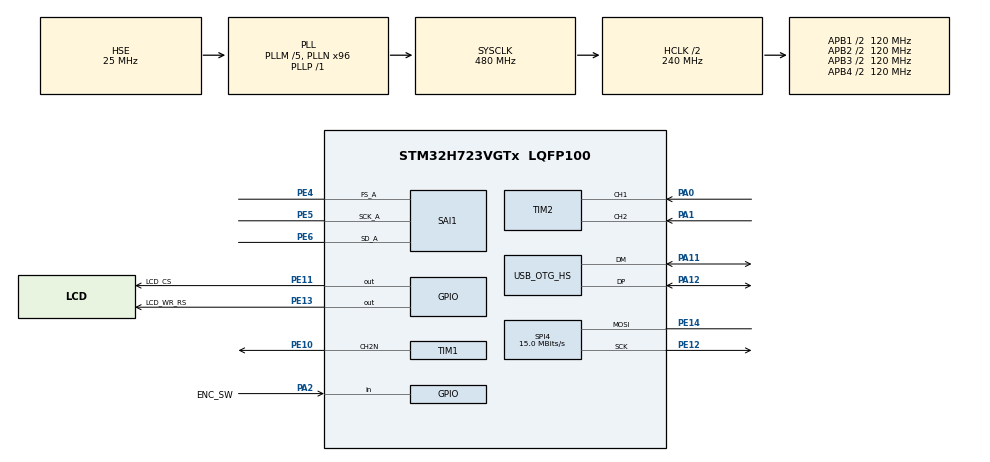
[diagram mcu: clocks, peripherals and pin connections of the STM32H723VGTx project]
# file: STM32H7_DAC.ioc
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CORTEX_M7.AccessPermission_S-Cortex_Memory_Protection_Unit_Region1_Settings_S=MPU_REGION_FULL_ACCESS
CORTEX_M7.BaseAddress_S-Cortex_Memory_Protection_Unit_Region1_Settings_S=0x30000000
CORTEX_M7.DisableExec_S-Cortex_Memory_Protection_Unit_Region1_Settings_S=MPU_INSTRUCTION_ACCESS_DISABLE
CORTEX_M7.Enable_S-Cortex_Memory_Protection_Unit_Region1_Settings_S=MPU_REGION_ENABLE
CORTEX_M7.IsShareable_S-Cortex_Memory_Protection_Unit_Region1_Settings_S=MPU_ACCESS_SHAREABLE
CORTEX_M7.Size_S-Cortex_Memory_Protection_Unit_Region1_Settings_S=MPU_REGION_SIZE_32KB
CORTEX_M7.TypeExtField_S-Cortex_Memory_Protection_Unit_Region1_Settings_S=MPU_TEX_LEVEL1
CORTEX_M7.default_mode_Activation=1
Dma.Request0=SAI1_A
Dma.SAI1_A.0.Direction=DMA_MEMORY_TO_PERIPH
Dma.SAI1_A.0.EventEnable=DISABLE
Dma.SAI1_A.0.FIFOMode=DMA_FIFOMODE_DISABLE
Dma.SAI1_A.0.Instance=DMA1_Stream0
Dma.SAI1_A.0.MemDataAlignment=DMA_MDATAALIGN_WORD
Dma.SAI1_A.0.MemInc=DMA_MINC_ENABLE
Dma.SAI1_A.0.Mode=DMA_CIRCULAR
Dma.SAI1_A.0.PeriphDataAlignment=DMA_PDATAALIGN_WORD
Dma.SAI1_A.0.PeriphInc=DMA_PINC_DISABLE
Dma.SAI1_A.0.Polarity=HAL_DMAMUX_REQ_GEN_RISING
Dma.SAI1_A.0.Priority=DMA_PRIORITY_LOW
Dma.SAI1_A.0.RequestNumber=1
Dma.SAI1_A.0.SignalID=NONE
Dma.SAI1_A.0.SyncEnable=DISABLE
Dma.SAI1_A.0.SyncPolarity=HAL_DMAMUX_SYNC_NO_EVENT
Dma.SAI1_A.0.SyncRequestNumber=1
Dma.SAI1_A.0.SyncSignalID=NONE
Mcu.Family=STM32H7
Mcu.Name=STM32H723VGTx
Mcu.Package=LQFP100
NVIC.DMA1_Stream0_IRQn=true\:0\:0\:false\:false\:true\:false\:true\:true
NVIC.OTG_HS_IRQn=true\:2\:0\:true\:false\:true\:false\:true\:true
NVIC.PriorityGroup=NVIC_PRIORITYGROUP_4
PA0.Signal=S_TIM2_CH1_ETR
PA1.Signal=S_TIM2_CH2
PA11.Mode=Device_Only_FS
PA11.Signal=USB_OTG_HS_DM
PA12.Mode=Device_Only_FS
PA12.Signal=USB_OTG_HS_DP
PA13(JTMS/SWDIO).Mode=Serial_Wire
PA13(JTMS/SWDIO).Signal=DEBUG_JTMS-SWDIO
PA14(JTCK/SWCLK).Mode=Serial_Wire
PA14(JTCK/SWCLK).Signal=DEBUG_JTCK-SWCLK
PA2.GPIO_Label=ENC_SW
PA2.Signal=GPIO_Input
PC14-OSC32_IN.Mode=LSE-External-Oscillator
PC14-OSC32_IN.Signal=RCC_OSC32_IN
PC15-OSC32_OUT.Mode=LSE-External-Oscillator
PC15-OSC32_OUT.Signal=RCC_OSC32_OUT
PE10.Mode=PWM Generation2 CH2N
PE10.Signal=TIM1_CH2N
PE11.GPIO_Label=LCD_CS
PE11.Signal=GPIO_Output
PE12.Mode=Simplex_Bidirectional_Master
PE12.Signal=SPI4_SCK
PE13.GPIO_Label=LCD_WR_RS
PE13.Signal=GPIO_Output
PE14.Mode=Simplex_Bidirectional_Master
PE14.Signal=SPI4_MOSI
PE4.Mode=SAI_A_Master
PE4.Signal=SAI1_FS_A
PE5.Mode=SAI_A_Master
PE5.Signal=SAI1_SCK_A
PE6.Mode=SAI_A_Master
PE6.Signal=SAI1_SD_A
PH0-OSC_IN.Mode=HSE-External-Oscillator
PH0-OSC_IN.Signal=RCC_OSC_IN
PH1-OSC_OUT.Mode=HSE-External-Oscillator
PH1-OSC_OUT.Signal=RCC_OSC_OUT
ProjectManager.HeapSize=0x200
ProjectManager.StackSize=0x400
ProjectManager.TargetToolchain=Makefile
RCC.ADCFreq_Value=12288001.443253083
RCC.APB1Freq_Value=120000000
RCC.APB2Freq_Value=120000000
RCC.APB3Freq_Value=120000000
RCC.APB4Freq_Value=120000000
RCC.CortexFreq_Value=480000000
RCC.D1PPRE=RCC_APB3_DIV2
RCC.D2PPRE1=RCC_APB1_DIV2
RCC.D2PPRE2=RCC_APB2_DIV2
RCC.D3PPRE=RCC_APB4_DIV2
RCC.DIVM1=5
RCC.DIVM2=21
RCC.DIVM3=5
RCC.DIVN1=96
RCC.DIVN2=289
RCC.DIVN3=40
RCC.DIVP1=1
RCC.DIVP2=28
RCC.DIVP3=1
RCC.DIVQ1=10
RCC.HCLKFreq_Value=240000000
RCC.HPRE=RCC_HCLK_DIV2
RCC.PLL2FRACN=113
RCC.PLL3FRACN=0
RCC.PLLFRACN=0
RCC.PLLSourceVirtual=RCC_PLLSOURCE_HSE
RCC.SAI1CLockSelection=RCC_SAI1CLKSOURCE_PLL2
RCC.SYSCLKFreq_VALUE=480000000
RCC.SYSCLKSource=RCC_SYSCLKSOURCE_PLLCLK
RCC.USBFreq_Value=48000000
SAI1.AudioFrequency-SAI_A_Master=SAI_AUDIO_FREQUENCY_48K
SAI1.BasicDataSize-SAI_A_Master=SAI_PROTOCOL_DATASIZE_32BIT
SAI1.ErrorAudioFreq-SAI_A_Master=0.0 %
SAI1.InitProtocol-SAI_A_Master=Enable
SAI1.Instance-SAI_A_Master=SAI$Index_Block_A
SAI1.MckOutput=SAI_MCK_OUTPUT_DISABLE
SAI1.RealAudioFreq-SAI_A_Master=48.0 KHz
SAI1.VirtualMode-SAI_A_Master=VM_MASTER
SAI1.VirtualProtocol-SAI_A_BASIC=VM_BASIC_PROTOCOL
SH.S_TIM2_CH1_ETR.0=TIM2_CH1,Encoder_Interface
SH.S_TIM2_CH2.0=TIM2_CH2,Encoder_Interface
SPI4.BaudRatePrescaler=SPI_BAUDRATEPRESCALER_8
SPI4.CalculateBaudRate=15.0 MBits/s
SPI4.DataSize=SPI_DATASIZE_8BIT
SPI4.Direction=SPI_DIRECTION_1LINE
SPI4.Mode=SPI_MODE_MASTER
SPI4.VirtualType=VM_MASTER
TIM1.Channel-PWM\ Generation2\ CH2N=TIM_CHANNEL_2
TIM1.OCNPolarity_2=TIM_OCNPOLARITY_LOW
TIM1.Period=1000-1
TIM1.Prescaler=27-1
TIM2.EncoderMode=TIM_ENCODERMODE_TI12
TIM2.IC1Filter=0xf
TIM2.IC2Filter=0xf
USB_DEVICE.CLASS_NAME_HS=AUDIO
USB_DEVICE.PRODUCT_STRING_AUDIO_HS=STM32H7 DAC
USB_DEVICE.USBD_AUDIO_FREQ=48000
USB_DEVICE.VirtualMode=Audio
USB_DEVICE.VirtualModeHS=Audio_HS
USB_OTG_HS.VirtualMode-Device_Only_FS=Device_Only_FS
VP_MEMORYMAP_VS_MEMORYMAP.Mode=CurAppReg
VP_RTC_VS_RTC_Activate.Mode=RTC_Enabled
VP_RTC_VS_RTC_Calendar.Mode=RTC_Calendar
VP_SAI1_VP_$IpInstance_SAIA_SAI_BASIC.Mode=SAI_A_BASIC
VP_USB_DEVICE_VS_USB_DEVICE_AUDIO_HS.Mode=AUDIO_HS
board=custom

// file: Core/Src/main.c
/* USER CODE BEGIN Header */
/**
  ******************************************************************************
  * @file           : main.c
  * @brief          : Main program body
  ******************************************************************************
  * @attention
  *
  * Copyright (c) 2026 STMicroelectronics.
  * All rights reserved.
  *
  * This software is licensed under terms that can be found in the LICENSE file
  * in the root directory of this software component.
  * If no LICENSE file comes with this software, it is provided AS-IS.
  *
  ******************************************************************************
  */
/* USER CODE END Header */
#include "main.h"
#include "usb_device.h"

/* USER CODE BEGIN Includes */
#include "board.h"
#include "bsp_encoder.h"
#include "lcd.h"
#include "usbd_audio.h"
#include "audio_dsp.h"
#include <stdio.h>
/* USER CODE END Includes */

RTC_HandleTypeDef hrtc;

SAI_HandleTypeDef hsai_BlockA1;
DMA_HandleTypeDef hdma_sai1_a;

SPI_HandleTypeDef hspi4;

TIM_HandleTypeDef htim1;
TIM_HandleTypeDef htim2;

void SystemClock_Config(void);
static void MPU_Config(void);
static void MX_GPIO_Init(void);
static void MX_DMA_Init(void);
static void MX_SAI1_Init(void);
static void MX_RTC_Init(void);
static void MX_SPI4_Init(void);
static void MX_TIM1_Init(void);
static void MX_TIM2_Init(void);

/* USER CODE BEGIN 0 */

/* Status header (top 20 px) + spectrum/EQ area (lower 60 px) geometry. */
#define HEADER_H     20U
#define HEADER_TEXT_Y 2U
#define RATE_TEXT_X   116U

#define SPECTRUM_Y    HEADER_H
#define SPECTRUM_H    60U
#define SPECTRUM_BARS 8U
#define BAR_PITCH     (160U / SPECTRUM_BARS)
#define BAR_WIDTH     (BAR_PITCH - 4U)

static void show_rate(uint32_t freq)
{
  const char *s;
  uint16_t bg;

  if (freq == 44100U)      { s = "44.1K"; bg = BLUE; }
  else if (freq == 48000U) { s = "48K";   bg = GREEN; }
  else if (freq == 96000U) { s = "96K";   bg = RED; }
  else                     { s = "  ?K";  bg = BLACK; }

  POINT_COLOR = WHITE;
  BACK_COLOR  = bg;
  LCD_FillRect(RATE_TEXT_X, HEADER_TEXT_Y, 160U - RATE_TEXT_X, 16U, bg);
  LCD_ShowString(RATE_TEXT_X, HEADER_TEXT_Y, 160U - RATE_TEXT_X, 16U, 16, (uint8_t *)s);
}

#define DISPLAY_TIMEOUT_MS 120000U
#define DISPLAY_BRIGHTNESS 80U

/* ------------------------------------------------------------------------- */
/* Rotary-encoder UI: spectrum view + 3-band EQ adjust view.                 */
/* ------------------------------------------------------------------------- */

typedef enum
{
  UI_SPECTRUM = 0,
  UI_EQ_LOW,
  UI_EQ_MID,
  UI_EQ_HIGH,
  UI_MODE_COUNT
} ui_mode_t;

static ui_mode_t ui_mode = UI_SPECTRUM;
static uint8_t   ui_needs_redraw = 0U;

/* EQ graph geometry: 3 markers over the lower 60 px area, center = 0 dB. */
#define EQ_MARKER_HALF 4
#define EQ_CENTER_Y    (SPECTRUM_Y + (SPECTRUM_H / 2U))
#define EQ_SCALE       1.6f
static const uint16_t eq_marker_x[AUDIO_DSP_EQ_BANDS] = { 30U, 80U, 130U };

static uint16_t eq_y_for_gain(int8_t db)
{
  int32_t y = (int32_t)EQ_CENTER_Y - (int32_t)((float)db * EQ_SCALE);
  return (uint16_t)y;
}

static void eq_draw_marker(uint8_t band)
{
  uint16_t x = eq_marker_x[band];
  uint16_t y = eq_y_for_gain(AudioDSP_GetEqGainDb(band));

  if (ui_mode == (ui_mode_t)((uint32_t)UI_EQ_LOW + band))
  {
    /* Selected band: solid highlighted square. */
    LCD_FillRect((uint16_t)(x - EQ_MARKER_HALF), (uint16_t)(y - EQ_MARKER_HALF),
                 (uint16_t)(EQ_MARKER_HALF * 2 + 1), (uint16_t)(EQ_MARKER_HALF * 2 + 1),
                 YELLOW);
  }
  else
  {
    /* Other bands: outlined square (the line passes through the center). */
    LCD_FillRect((uint16_t)(x - 3U), (uint16_t)(y - 3U), 7U, 7U, WHITE);
    LCD_FillRect((uint16_t)(x - 2U), (uint16_t)(y - 2U), 5U, 5U, BLACK);
  }
}

static void eq_draw_graph(void)
{
  uint8_t band;

  LCD_ClearArea(0, SPECTRUM_Y, 160U, SPECTRUM_H);

  /* 0 dB reference line. */
  LCD_FillRect(4U, EQ_CENTER_Y, 152U, 1U, GRAY);

  /* Connect the three markers. */
  for (band = 1U; band < AUDIO_DSP_EQ_BANDS; band++)
  {
    LCD_DrawLine(eq_marker_x[band - 1U],
                 eq_y_for_gain(AudioDSP_GetEqGainDb((uint8_t)(band - 1U))),
                 eq_marker_x[band],
                 eq_y_for_gain(AudioDSP_GetEqGainDb(band)),
                 GREEN);
  }

  for (band = 0U; band < AUDIO_DSP_EQ_BANDS; band++)
  {
    eq_draw_marker(band);
  }
}

static void spectrum_draw_baseline(void)
{
  uint32_t b;

  LCD_ClearArea(0, SPECTRUM_Y, 160U, SPECTRUM_H);
  for (b = 0; b < SPECTRUM_BARS; b++)
  {
    LCD_FillRect((uint16_t)(b * BAR_PITCH + 2U),
                 (uint16_t)(SPECTRUM_Y + SPECTRUM_H - 1U), BAR_WIDTH, 1U, GREEN);
  }
}

static void display_redraw(void)
{
  LCD_ClearArea(0, 0, 160U, HEADER_H);
  POINT_COLOR = WHITE;
  BACK_COLOR  = BLACK;
  LCD_ShowString(4, HEADER_TEXT_Y, RATE_TEXT_X - 4, 16U, 16, (uint8_t *)"STM32H7 DAC");
  show_rate(audio_freq_hz);

  if (ui_mode == UI_SPECTRUM)
  {
    spectrum_draw_baseline();
  }
  else
  {
    eq_draw_graph();
  }
}

/* USER CODE END 0 */

int main(void)
{

  /* MPU Configuration--------------------------------------------------------*/
  MPU_Config();

  /* MCU Configuration--------------------------------------------------------*/

  /* Reset of all peripherals, Initializes the Flash interface and the Systick. */
  HAL_Init();

  /* Configure the system clock */
  SystemClock_Config();

  /* Initialize all configured peripherals */
  MX_GPIO_Init();
  MX_DMA_Init();
  MX_SAI1_Init();
  MX_RTC_Init();
  MX_SPI4_Init();
  MX_TIM1_Init();
  MX_USB_DEVICE_Init();
  MX_TIM2_Init();
  /* USER CODE BEGIN 2 */
  board_led_init();
  BSP_ENC_Init();
  LCD_Init();
  display_redraw();

  uint32_t display_sound_last = audio_sound_frames;
  uint32_t display_sound_tick = HAL_GetTick();
  uint8_t  display_on = 1U;
  /* USER CODE END 2 */

  /* Infinite loop */
  while (1)
  {

    /* USER CODE BEGIN 3 */
    static uint32_t rate_last = 0U;

    uint32_t now = HAL_GetTick();
    uint32_t sound_frames = audio_sound_frames;
    uint8_t  activity = 0U;

    /* Poll the rotary encoder + button every loop, even when the backlight is
       off, so user input can also wake the display. */
    {
      int32_t steps = BSP_ENC_GetSteps();
      uint8_t pressed = BSP_ENC_ButtonEvent();

      if ((steps != 0) || (pressed != 0U))
      {
        activity = 1U;
      }

      if (pressed != 0U)
      {
        ui_mode = (ui_mode_t)(((uint32_t)ui_mode + 1U) % (uint32_t)UI_MODE_COUNT);
        ui_needs_redraw = 1U;
      }

      if ((steps != 0) && (ui_mode != UI_SPECTRUM))
      {
        uint8_t band = (uint8_t)((uint32_t)ui_mode - (uint32_t)UI_EQ_LOW);
        int32_t g = (int32_t)AudioDSP_GetEqGainDb(band) + steps;

        if (g < (int32_t)AUDIO_DSP_EQ_DB_MIN) { g = AUDIO_DSP_EQ_DB_MIN; }
        if (g > (int32_t)AUDIO_DSP_EQ_DB_MAX) { g = AUDIO_DSP_EQ_DB_MAX; }

        AudioDSP_SetEqGainDb(band, (int8_t)g);
        ui_needs_redraw = 1U;
      }
    }

    if (sound_frames != display_sound_last)
    {
      display_sound_last = sound_frames;
      display_sound_tick = now;

      if (display_on == 0U)
      {
        display_on = 1U;
        LCD_SetBrightness(DISPLAY_BRIGHTNESS);
        display_redraw();
        ui_needs_redraw = 0U;
        rate_last = audio_freq_hz;
      }
    }
    else if ((display_on != 0U) && ((now - display_sound_tick) >= DISPLAY_TIMEOUT_MS))
    {
      display_on = 0U;
      LCD_SetBrightness(0U);
    }

    /* User input counts as activity: keep the display awake. */
    if (activity != 0U)
    {
      display_sound_tick = now;

      if (display_on == 0U)
      {
        display_on = 1U;
        LCD_SetBrightness(DISPLAY_BRIGHTNESS);
        display_redraw();
        ui_needs_redraw = 0U;
        rate_last = audio_freq_hz;
      }
    }

    if (audio_freq_hz != rate_last)
    {
      rate_last = audio_freq_hz;
      if (display_on != 0U)
      {
        show_rate(audio_freq_hz);
      }
    }

    if (display_on != 0U)
    {
      if (ui_mode == UI_SPECTRUM)
      {
        if (ui_needs_redraw != 0U)
        {
          spectrum_draw_baseline();
          ui_needs_redraw = 0U;
        }

        {
          float bars[SPECTRUM_BARS];
          if (AudioDSP_Spectrum(bars, SPECTRUM_BARS) != 0U)
          {
            uint32_t b;
            LCD_ClearArea(0, SPECTRUM_Y, 160U, SPECTRUM_H);
            for (b = 0; b < SPECTRUM_BARS; b++)
            {
              uint16_t h = (uint16_t)(bars[b] * (float)SPECTRUM_H);
              uint16_t x = (uint16_t)(b * BAR_PITCH + 2U);
              if (h > 0U)
              {
                LCD_FillRect(x, (uint16_t)(SPECTRUM_Y + SPECTRUM_H - h), BAR_WIDTH, h, GREEN);
              }
              LCD_FillRect(x, (uint16_t)(SPECTRUM_Y + SPECTRUM_H - 1U), BAR_WIDTH, 1U, GREEN);
            }
          }
        }

#ifdef AUDIO_DEBUG
        {
          char dbg[24];

          sprintf(dbg, "R:%-5lu F:%-4lu   ", (unsigned long)audio_dbg_freq,
                  (unsigned long)audio_dbg_writable_samples);
          LCD_ShowString(4, 42, 152, 16, 16, (uint8_t *)dbg);

          sprintf(dbg, "Drop:%-6lu   ", (unsigned long)audio_dbg_drop_count);
          LCD_ShowString(4, 58, 152, 16, 16, (uint8_t *)dbg);
        }
#endif
      }
      else if (ui_needs_redraw != 0U)
      {
        eq_draw_graph();
        ui_needs_redraw = 0U;
      }
    }

#ifdef AUDIO_DEBUG
    board_led_set(audio_dbg_danger ? 1U : 0U);
#else
    board_led_set(0U);
#endif
    HAL_Delay(20);
  }
  /* USER CODE END 3 */
}

void SystemClock_Config(void)
{
  RCC_OscInitTypeDef RCC_OscInitStruct = {0};
  RCC_ClkInitTypeDef RCC_ClkInitStruct = {0};

  /** Supply configuration update enable
  */
  HAL_PWREx_ConfigSupply(PWR_LDO_SUPPLY);

  /** Configure the main internal regulator output voltage
  */
  __HAL_PWR_VOLTAGESCALING_CONFIG(PWR_REGULATOR_VOLTAGE_SCALE0);

  while(!__HAL_PWR_GET_FLAG(PWR_FLAG_VOSRDY)) {}

  /** Initializes the RCC Oscillators according to the specified parameters
  * in the RCC_OscInitTypeDef structure.
  */
  RCC_OscInitStruct.OscillatorType = RCC_OSCILLATORTYPE_LSI|RCC_OSCILLATORTYPE_HSE;
  RCC_OscInitStruct.HSEState = RCC_HSE_ON;
  RCC_OscInitStruct.LSIState = RCC_LSI_ON;
  RCC_OscInitStruct.PLL.PLLState = RCC_PLL_ON;
  RCC_OscInitStruct.PLL.PLLSource = RCC_PLLSOURCE_HSE;
  RCC_OscInitStruct.PLL.PLLM = 5;
  RCC_OscInitStruct.PLL.PLLN = 96;
  RCC_OscInitStruct.PLL.PLLP = 1;
  RCC_OscInitStruct.PLL.PLLQ = 10;
  RCC_OscInitStruct.PLL.PLLR = 2;
  RCC_OscInitStruct.PLL.PLLRGE = RCC_PLL1VCIRANGE_2;
  RCC_OscInitStruct.PLL.PLLVCOSEL = RCC_PLL1VCOWIDE;
  RCC_OscInitStruct.PLL.PLLFRACN = 0;
  if (HAL_RCC_OscConfig(&RCC_OscInitStruct) != HAL_OK)
  {
    Error_Handler();
  }

  /** Initializes the CPU, AHB and APB buses clocks
  */
  RCC_ClkInitStruct.ClockType = RCC_CLOCKTYPE_HCLK|RCC_CLOCKTYPE_SYSCLK
                              |RCC_CLOCKTYPE_PCLK1|RCC_CLOCKTYPE_PCLK2
                              |RCC_CLOCKTYPE_D3PCLK1|RCC_CLOCKTYPE_D1PCLK1;
  RCC_ClkInitStruct.SYSCLKSource = RCC_SYSCLKSOURCE_PLLCLK;
  RCC_ClkInitStruct.SYSCLKDivider = RCC_SYSCLK_DIV1;
  RCC_ClkInitStruct.AHBCLKDivider = RCC_HCLK_DIV2;
  RCC_ClkInitStruct.APB3CLKDivider = RCC_APB3_DIV2;
  RCC_ClkInitStruct.APB1CLKDivider = RCC_APB1_DIV2;
  RCC_ClkInitStruct.APB2CLKDivider = RCC_APB2_DIV2;
  RCC_ClkInitStruct.APB4CLKDivider = RCC_APB4_DIV2;

  if (HAL_RCC_ClockConfig(&RCC_ClkInitStruct, FLASH_LATENCY_3) != HAL_OK)
  {
    Error_Handler();
  }
}

static void MX_RTC_Init(void)
{

  RTC_TimeTypeDef sTime = {0};
  RTC_DateTypeDef sDate = {0};

  /** Initialize RTC Only
  */
  hrtc.Instance = RTC;
  hrtc.Init.HourFormat = RTC_HOURFORMAT_24;
  hrtc.Init.AsynchPrediv = 127;
  hrtc.Init.SynchPrediv = 255;
  hrtc.Init.OutPut = RTC_OUTPUT_DISABLE;
  hrtc.Init.OutPutPolarity = RTC_OUTPUT_POLARITY_HIGH;
  hrtc.Init.OutPutType = RTC_OUTPUT_TYPE_OPENDRAIN;
  hrtc.Init.OutPutRemap = RTC_OUTPUT_REMAP_NONE;
  if (HAL_RTC_Init(&hrtc) != HAL_OK)
  {
    Error_Handler();
  }

  /** Initialize RTC and set the Time and Date
  */
  sTime.Hours = 0x0;
  sTime.Minutes = 0x0;
  sTime.Seconds = 0x0;
  sTime.DayLightSaving = RTC_DAYLIGHTSAVING_NONE;
  sTime.StoreOperation = RTC_STOREOPERATION_RESET;
  if (HAL_RTC_SetTime(&hrtc, &sTime, RTC_FORMAT_BCD) != HAL_OK)
  {
    Error_Handler();
  }
  sDate.WeekDay = RTC_WEEKDAY_MONDAY;
  sDate.Month = RTC_MONTH_JANUARY;
  sDate.Date = 0x1;
  sDate.Year = 0x0;

  if (HAL_RTC_SetDate(&hrtc, &sDate, RTC_FORMAT_BCD) != HAL_OK)
  {
    Error_Handler();
  }

}

static void MX_SAI1_Init(void)
{

  hsai_BlockA1.Instance = SAI1_Block_A;
  hsai_BlockA1.Init.AudioMode = SAI_MODEMASTER_TX;
  hsai_BlockA1.Init.Synchro = SAI_ASYNCHRONOUS;
  hsai_BlockA1.Init.OutputDrive = SAI_OUTPUTDRIVE_DISABLE;
  hsai_BlockA1.Init.NoDivider = SAI_MASTERDIVIDER_ENABLE;
  hsai_BlockA1.Init.FIFOThreshold = SAI_FIFOTHRESHOLD_EMPTY;
  hsai_BlockA1.Init.AudioFrequency = SAI_AUDIO_FREQUENCY_48K;
  hsai_BlockA1.Init.SynchroExt = SAI_SYNCEXT_DISABLE;
  hsai_BlockA1.Init.MonoStereoMode = SAI_STEREOMODE;
  hsai_BlockA1.Init.CompandingMode = SAI_NOCOMPANDING;
  hsai_BlockA1.Init.TriState = SAI_OUTPUT_NOTRELEASED;
  if (HAL_SAI_InitProtocol(&hsai_BlockA1, SAI_I2S_STANDARD, SAI_PROTOCOL_DATASIZE_32BIT, 2) != HAL_OK)
  {
    Error_Handler();
  }

}

static void MX_SPI4_Init(void)
{

  /* SPI4 parameter configuration*/
  hspi4.Instance = SPI4;
  hspi4.Init.Mode = SPI_MODE_MASTER;
  hspi4.Init.Direction = SPI_DIRECTION_1LINE;
  hspi4.Init.DataSize = SPI_DATASIZE_8BIT;
  hspi4.Init.CLKPolarity = SPI_POLARITY_LOW;
  hspi4.Init.CLKPhase = SPI_PHASE_1EDGE;
  hspi4.Init.NSS = SPI_NSS_SOFT;
  hspi4.Init.BaudRatePrescaler = SPI_BAUDRATEPRESCALER_8;
  hspi4.Init.FirstBit = SPI_FIRSTBIT_MSB;
  hspi4.Init.TIMode = SPI_TIMODE_DISABLE;
  hspi4.Init.CRCCalculation = SPI_CRCCALCULATION_DISABLE;
  hspi4.Init.CRCPolynomial = 0x0;
  hspi4.Init.NSSPMode = SPI_NSS_PULSE_ENABLE;
  hspi4.Init.NSSPolarity = SPI_NSS_POLARITY_LOW;
  hspi4.Init.FifoThreshold = SPI_FIFO_THRESHOLD_01DATA;
  hspi4.Init.TxCRCInitializationPattern = SPI_CRC_INITIALIZATION_ALL_ZERO_PATTERN;
  hspi4.Init.RxCRCInitializationPattern = SPI_CRC_INITIALIZATION_ALL_ZERO_PATTERN;
  hspi4.Init.MasterSSIdleness = SPI_MASTER_SS_IDLENESS_00CYCLE;
  hspi4.Init.MasterInterDataIdleness = SPI_MASTER_INTERDATA_IDLENESS_00CYCLE;
  hspi4.Init.MasterReceiverAutoSusp = SPI_MASTER_RX_AUTOSUSP_DISABLE;
  hspi4.Init.MasterKeepIOState = SPI_MASTER_KEEP_IO_STATE_DISABLE;
  hspi4.Init.IOSwap = SPI_IO_SWAP_DISABLE;
  if (HAL_SPI_Init(&hspi4) != HAL_OK)
  {
    Error_Handler();
  }

}

static void MX_TIM1_Init(void)
{

  TIM_MasterConfigTypeDef sMasterConfig = {0};
  TIM_OC_InitTypeDef sConfigOC = {0};
  TIM_BreakDeadTimeConfigTypeDef sBreakDeadTimeConfig = {0};

  htim1.Instance = TIM1;
  htim1.Init.Prescaler = 27-1;
  htim1.Init.CounterMode = TIM_COUNTERMODE_UP;
  htim1.Init.Period = 1000-1;
  htim1.Init.ClockDivision = TIM_CLOCKDIVISION_DIV1;
  htim1.Init.RepetitionCounter = 0;
  htim1.Init.AutoReloadPreload = TIM_AUTORELOAD_PRELOAD_DISABLE;
  if (HAL_TIM_PWM_Init(&htim1) != HAL_OK)
  {
    Error_Handler();
  }
  sMasterConfig.MasterOutputTrigger = TIM_TRGO_RESET;
  sMasterConfig.MasterOutputTrigger2 = TIM_TRGO2_RESET;
  sMasterConfig.MasterSlaveMode = TIM_MASTERSLAVEMODE_DISABLE;
  if (HAL_TIMEx_MasterConfigSynchronization(&htim1, &sMasterConfig) != HAL_OK)
  {
    Error_Handler();
  }
  sConfigOC.OCMode = TIM_OCMODE_PWM1;
  sConfigOC.Pulse = 0;
  sConfigOC.OCPolarity = TIM_OCPOLARITY_HIGH;
  sConfigOC.OCNPolarity = TIM_OCNPOLARITY_LOW;
  sConfigOC.OCFastMode = TIM_OCFAST_DISABLE;
  sConfigOC.OCIdleState = TIM_OCIDLESTATE_RESET;
  sConfigOC.OCNIdleState = TIM_OCNIDLESTATE_RESET;
  if (HAL_TIM_PWM_ConfigChannel(&htim1, &sConfigOC, TIM_CHANNEL_2) != HAL_OK)
  {
    Error_Handler();
  }
  sBreakDeadTimeConfig.OffStateRunMode = TIM_OSSR_DISABLE;
  sBreakDeadTimeConfig.OffStateIDLEMode = TIM_OSSI_DISABLE;
  sBreakDeadTimeConfig.LockLevel = TIM_LOCKLEVEL_OFF;
  sBreakDeadTimeConfig.DeadTime = 0;
  sBreakDeadTimeConfig.BreakState = TIM_BREAK_DISABLE;
  sBreakDeadTimeConfig.BreakPolarity = TIM_BREAKPOLARITY_HIGH;
  sBreakDeadTimeConfig.BreakFilter = 0;
  sBreakDeadTimeConfig.Break2State = TIM_BREAK2_DISABLE;
  sBreakDeadTimeConfig.Break2Polarity = TIM_BREAK2POLARITY_HIGH;
  sBreakDeadTimeConfig.Break2Filter = 0;
  sBreakDeadTimeConfig.AutomaticOutput = TIM_AUTOMATICOUTPUT_DISABLE;
  if (HAL_TIMEx_ConfigBreakDeadTime(&htim1, &sBreakDeadTimeConfig) != HAL_OK)
  {
    Error_Handler();
  }
  HAL_TIM_MspPostInit(&htim1);

}

static void MX_TIM2_Init(void)
{

  TIM_Encoder_InitTypeDef sConfig = {0};
  TIM_MasterConfigTypeDef sMasterConfig = {0};

  htim2.Instance = TIM2;
  htim2.Init.Prescaler = 0;
  htim2.Init.CounterMode = TIM_COUNTERMODE_UP;
  htim2.Init.Period = 4294967295;
  htim2.Init.ClockDivision = TIM_CLOCKDIVISION_DIV1;
  htim2.Init.AutoReloadPreload = TIM_AUTORELOAD_PRELOAD_DISABLE;
  sConfig.EncoderMode = TIM_ENCODERMODE_TI12;
  sConfig.IC1Polarity = TIM_ICPOLARITY_RISING;
  sConfig.IC1Selection = TIM_ICSELECTION_DIRECTTI;
  sConfig.IC1Prescaler = TIM_ICPSC_DIV1;
  sConfig.IC1Filter = 0xf;
  sConfig.IC2Polarity = TIM_ICPOLARITY_RISING;
  sConfig.IC2Selection = TIM_ICSELECTION_DIRECTTI;
  sConfig.IC2Prescaler = TIM_ICPSC_DIV1;
  sConfig.IC2Filter = 0xf;
  if (HAL_TIM_Encoder_Init(&htim2, &sConfig) != HAL_OK)
  {
    Error_Handler();
  }
  sMasterConfig.MasterOutputTrigger = TIM_TRGO_RESET;
  sMasterConfig.MasterSlaveMode = TIM_MASTERSLAVEMODE_DISABLE;
  if (HAL_TIMEx_MasterConfigSynchronization(&htim2, &sMasterConfig) != HAL_OK)
  {
    Error_Handler();
  }

}

static void MX_DMA_Init(void)
{

  /* DMA controller clock enable */
  __HAL_RCC_DMA1_CLK_ENABLE();

  /* DMA interrupt init */
  /* DMA1_Stream0_IRQn interrupt configuration */
  HAL_NVIC_SetPriority(DMA1_Stream0_IRQn, 0, 0);
  HAL_NVIC_EnableIRQ(DMA1_Stream0_IRQn);

}

static void MX_GPIO_Init(void)
{
  GPIO_InitTypeDef GPIO_InitStruct = {0};

  /* GPIO Ports Clock Enable */
  __HAL_RCC_GPIOE_CLK_ENABLE();
  __HAL_RCC_GPIOC_CLK_ENABLE();
  __HAL_RCC_GPIOH_CLK_ENABLE();
  __HAL_RCC_GPIOA_CLK_ENABLE();

  /*Configure GPIO pin Output Level */
  HAL_GPIO_WritePin(GPIOE, LCD_CS_Pin|LCD_WR_RS_Pin, GPIO_PIN_RESET);

  /*Configure GPIO pin : ENC_SW_Pin */
  GPIO_InitStruct.Pin = ENC_SW_Pin;
  GPIO_InitStruct.Mode = GPIO_MODE_INPUT;
  GPIO_InitStruct.Pull = GPIO_NOPULL;
  HAL_GPIO_Init(ENC_SW_GPIO_Port, &GPIO_InitStruct);

  /*Configure GPIO pins : LCD_CS_Pin LCD_WR_RS_Pin */
  GPIO_InitStruct.Pin = LCD_CS_Pin|LCD_WR_RS_Pin;
  GPIO_InitStruct.Mode = GPIO_MODE_OUTPUT_PP;
  GPIO_InitStruct.Pull = GPIO_NOPULL;
  GPIO_InitStruct.Speed = GPIO_SPEED_FREQ_LOW;
  HAL_GPIO_Init(GPIOE, &GPIO_InitStruct);

}

 /* MPU Configuration */

void MPU_Config(void)
{
  MPU_Region_InitTypeDef MPU_InitStruct = {0};

  /* Disables the MPU */
  HAL_MPU_Disable();

  /** Initializes and configures the Region and the memory to be protected
  */
  MPU_InitStruct.Enable = MPU_REGION_ENABLE;
  MPU_InitStruct.Number = MPU_REGION_NUMBER0;
  MPU_InitStruct.BaseAddress = 0x0;
  MPU_InitStruct.Size = MPU_REGION_SIZE_4GB;
  MPU_InitStruct.SubRegionDisable = 0x87;
  MPU_InitStruct.TypeExtField = MPU_TEX_LEVEL0;
  MPU_InitStruct.AccessPermission = MPU_REGION_NO_ACCESS;
  MPU_InitStruct.DisableExec = MPU_INSTRUCTION_ACCESS_DISABLE;
  MPU_InitStruct.IsShareable = MPU_ACCESS_SHAREABLE;
  MPU_InitStruct.IsCacheable = MPU_ACCESS_NOT_CACHEABLE;
  MPU_InitStruct.IsBufferable = MPU_ACCESS_NOT_BUFFERABLE;

  HAL_MPU_ConfigRegion(&MPU_InitStruct);

  /** Initializes and configures the Region and the memory to be protected
  */
  MPU_InitStruct.Number = MPU_REGION_NUMBER1;
  MPU_InitStruct.BaseAddress = 0x30000000;
  MPU_InitStruct.Size = MPU_REGION_SIZE_32KB;
  MPU_InitStruct.SubRegionDisable = 0x0;
  MPU_InitStruct.TypeExtField = MPU_TEX_LEVEL1;
  MPU_InitStruct.AccessPermission = MPU_REGION_FULL_ACCESS;

  HAL_MPU_ConfigRegion(&MPU_InitStruct);
  /* Enables the MPU */
  HAL_MPU_Enable(MPU_PRIVILEGED_DEFAULT);

}

void Error_Handler(void)
{
  __disable_irq();
  while (1)
  {
  }
}
